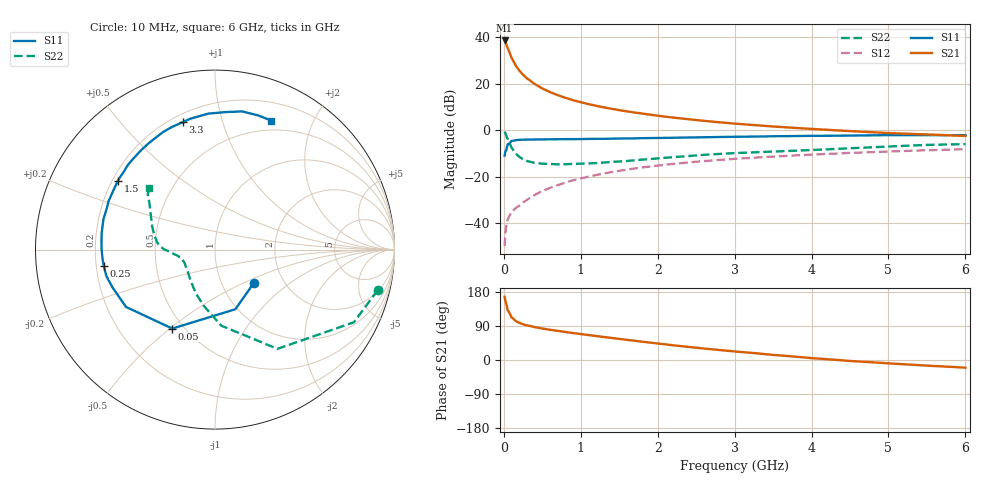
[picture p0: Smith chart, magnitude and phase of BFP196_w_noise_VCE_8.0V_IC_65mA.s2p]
! Infineon Technologies  Discrete & RF Semiconductors
! BFP196
! VCE =  8.0 V,  IC =  65 mA
! Common Emitter S-Parameters:  Jan 2017
# GHz  S  MA  R  50
!  f  S11  S21  S12  S22
! GHz  MAG  ANG  MAG  ANG  MAG  ANG  MAG  ANG
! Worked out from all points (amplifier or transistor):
!   77 points, 10 MHz to 6 GHz, reference 50 ohm
!   highest |S21| = 38.6 dB at 10 MHz (marker M1)
!   |S21| within 3 dB of that: start of sweep to 46.84 MHz
!   unconditionally stable (mu >= 1): 525.6 MHz to 2.39 GHz
!   at 130 MHz: K = 0.64, MSG = 31.8 dB, |S12| = -34.2 dB
!   at 2.2 GHz: K = 1.01, MAG = 9.4 dB, |S12| = -14.5 dB
!   at 6 GHz: K = 0.94, MSG = 2.9 dB, |S12| = -8.2 dB
!   lowest NFmin = 1.62 dB at 450 MHz
!   S11 on the Smith chart (normalised r, x): 10 MHz: 1.42, -0.57; 50 MHz: 0.43, -0.51; 250 MHz: 0.23, -0.07; 1.5 GHz: 0.22, +0.30; 3.3 GHz: 0.24, +0.75; 6 GHz: 0.39, +1.46
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0.01  0.2851 -40.5  85.58 167.0  0.0032 79.8  0.9341 -14.0
0.02  0.3511 -71.1  80.74 155.7  0.0063 74.4  0.8737 -27.6
0.05  0.5 -118.4  58.8 131.1  0.012 57.1  0.6533 -57.8
0.1  0.5899 -147.2  36.24 112.2  0.0172 56.1  0.4251 -85.3
0.15  0.6088 -159.8  25.32 103.5  0.0209 55.4  0.3197 -101.3
0.2  0.6229 -166.4  19.36 98.1  0.0237 60.3  0.2684 -112.9
0.25  0.6266 -171.7  15.61 94.1  0.028 60.8  0.2376 -121.4
0.3  0.6287 -175.1  13.07 91.4  0.0316 63.5  0.2184 -128.7
0.4  0.6322 179.3  9.897 86.7  0.0404 66.0  0.1991 -138.5
0.5  0.6348 175.0  7.928 83.1  0.049 66.9  0.1905 -145.7
0.6  0.6384 171.2  6.641 79.8  0.0577 67.2  0.1877 -151.3
0.7  0.6402 168.0  5.695 76.9  0.0657 67.5  0.1847 -155.3
0.9  0.644 161.6  4.437 71.2  0.0837 66.5  0.1884 -160.7
1.1  0.6514 155.8  3.657 65.9  0.1004 65.0  0.193 -165.0
1.5  0.6635 144.7  2.707 55.7  0.134 60.2  0.2129 -171.2
2.1  0.6853 129.0  1.964 41.3  0.181 52.3  0.2554 -177.4
2.6  0.7061 117.7  1.595 30.3  0.2168 45.5  0.2958 178.0
3.1  0.726 107.8  1.351 20.9  0.2479 38.9  0.3272 172.0
3.3  0.7327 104.1  1.275 17.4  0.2595 36.4  0.337 169.3
4.1  0.7596 91.3  1.045 3.6  0.3039 26.8  0.3819 157.4
5.1  0.7841 77.5  0.858 -10.0  0.3531 15.2  0.4538 143.9
6  0.7845 66.4  0.754 -20.2  0.3911 5.1  0.5026 137.1
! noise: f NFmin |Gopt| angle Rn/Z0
0.45  1.62  0.43  -173  0.06
0.9  1.78  0.49  -160  0.08
1.9  2.59  0.69  -131  0.35
2.4  3  0.7  -118  0.75
